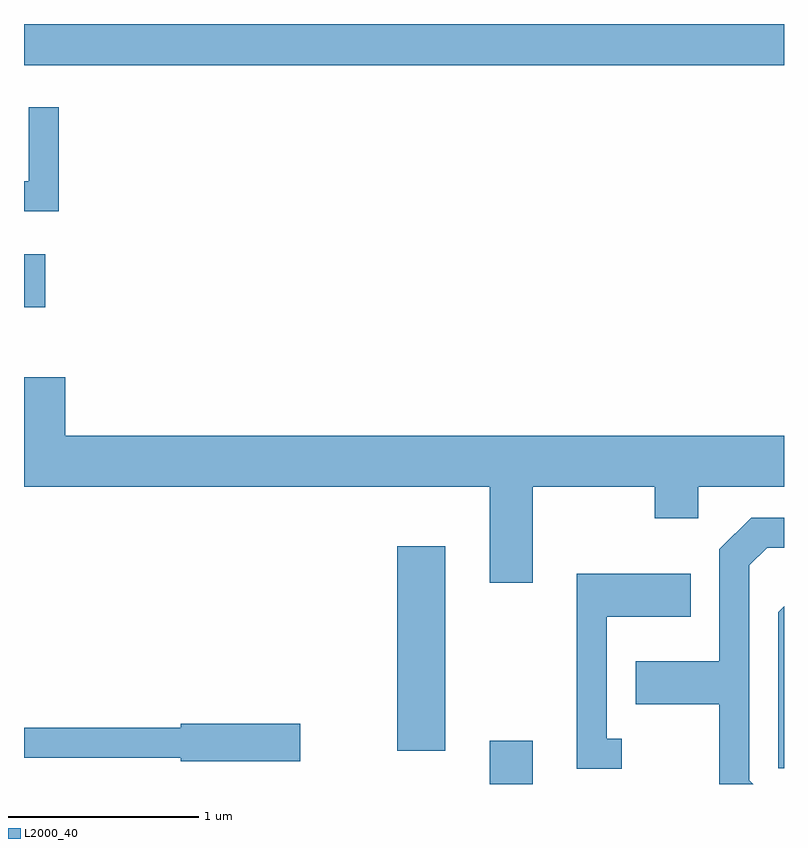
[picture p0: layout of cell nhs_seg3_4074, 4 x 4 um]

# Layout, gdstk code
import gdstk
lib = gdstk.Library(unit=1e-6, precision=1e-09)
def R(c, l, rs):  # rectangles x0, y0, x1, y1
    for r in rs: c.add(gdstk.rectangle(r[:2], r[2:], *l))
def P(c, l, *ps):  # polygons
    for p in ps: c.add(gdstk.Polygon(p, *l))
L2000_40 = (2000, 40)

nhs_seg3_4074 = lib.new_cell('nhs_seg3_4074')
R(nhs_seg3_4074, L2000_40, [(306.061,1239.892,306.289,1240.119), (305.576,1240.066,305.829,1241.144), (303.611,1242.401,303.724,1242.679), (303.611,1243.676,307.611,1243.892)])
P(nhs_seg3_4074, L2000_40, [(303.794,1243.453),(303.636,1243.453),(303.636,1243.064),(303.611,1243.064),(303.611,1242.906),(303.794,1242.906)],
  [(306.289,1241.456),(306.931,1241.456),(306.931,1241.291),(307.159,1241.291),(307.159,1241.456),(307.611,1241.456),(307.611,1241.724),(303.829,1241.724),(303.829,1242.034),(303.611,1242.034),(303.611,1241.456),(306.061,1241.456),(306.061,1240.951),(306.289,1240.951)],
  [(307.429,1239.912),(307.429,1241.044),(307.522,1241.136),(307.611,1241.136),(307.611,1241.294),(307.439,1241.294),(307.271,1241.127),(307.271,1240.539),(306.831,1240.539),(306.831,1240.311),(307.271,1240.311),(307.271,1239.892),(307.449,1239.892)],
  [(306.758,1240.129),(306.679,1240.129),(306.679,1240.771),(307.119,1240.771),(307.119,1240.999),(306.521,1240.999),(306.521,1239.971),(306.758,1239.971)],
  [(307.611,1240.827),(307.581,1240.797),(307.581,1239.976),(307.611,1239.976)],
  [(305.064,1240.209),(304.436,1240.209),(304.436,1240.189),(303.611,1240.189),(303.611,1240.031),(304.436,1240.031),(304.436,1240.011),(305.064,1240.011)])

lib.write_gds('nhs_seg3_4074.gds')
